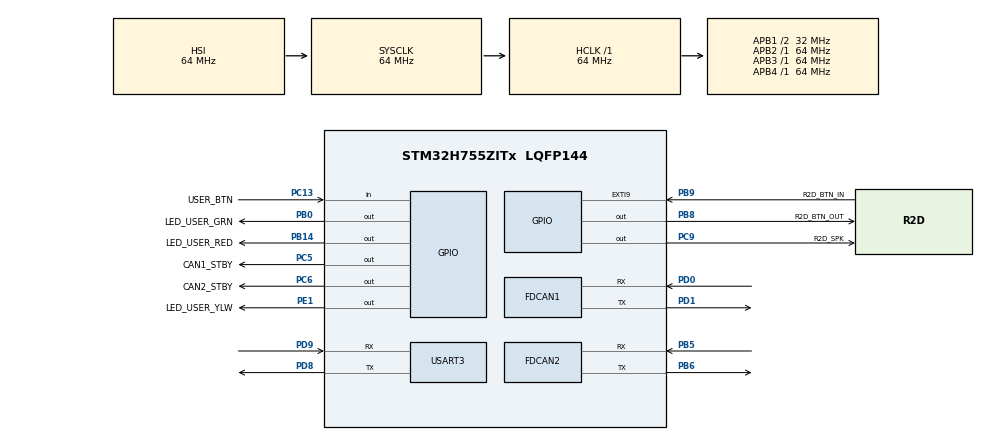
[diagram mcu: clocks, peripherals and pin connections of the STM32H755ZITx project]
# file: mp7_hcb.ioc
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CORTEX_M7.default_mode_Activation=1
CortexM4.IPs=CORTEX_M4\:I,FATFS_M4\:I,FREERTOS_M4\:I,IWDG2\:I,OPENAMP_M4\:I,PDM2PCM_M4\:I,PWR,RCC,RESMGR_UTILITY,SYS_M4\:I,USB_DEVICE_M4\:I,USB_HOST_M4\:I,VREFBUF,WWDG2\:I,GPIO,DMA,BDMA,MDMA,NVIC2\:I
CortexM7.IPs=CORTEX_M7\:I,FATFS_M7\:I,FREERTOS_M7\:I,IWDG1\:I,OPENAMP_M7\:I,PDM2PCM_M7\:I,PWR\:I,RCC\:I,RESMGR_UTILITY\:I,SYS\:I,USB_DEVICE_M7\:I,USB_HOST_M7\:I,VREFBUF\:I,WWDG1\:I,GPIO\:I,DMA\:I,BDMA\:I,MDMA\:I,NVIC1\:I,FDCAN1\:I,FDCAN2\:I,USART3\:I,TIM2\:I
CortexM7.Pins=PC13,PC5,PB0,PB14,PC6,PC9,PB8,PB9,PE1
FDCAN1.AutoRetransmission=ENABLE
FDCAN1.CalculateBaudRateNominal=1000000
FDCAN1.CalculateTimeBitNominal=1000
FDCAN1.CalculateTimeQuantumNominal=25.0
FDCAN1.Mode=FDCAN_MODE_NORMAL
FDCAN1.NominalPrescaler=1
FDCAN1.NominalSyncJumpWidth=6
FDCAN1.NominalTimeSeg1=33
FDCAN1.NominalTimeSeg2=6
FDCAN1.RxFifo0ElmtsNbr=3
FDCAN1.StdFiltersNbr=1
FDCAN1.TxFifoQueueElmtsNbr=3
FDCAN2.AutoRetransmission=ENABLE
FDCAN2.CalculateBaudRateNominal=1000000
FDCAN2.CalculateTimeBitNominal=1000
FDCAN2.CalculateTimeQuantumNominal=25.0
FDCAN2.MessageRAMOffset=1280
FDCAN2.NominalPrescaler=1
FDCAN2.NominalSyncJumpWidth=6
FDCAN2.NominalTimeSeg1=33
FDCAN2.NominalTimeSeg2=6
FDCAN2.RxFifo0ElmtsNbr=3
FDCAN2.StdFiltersNbr=1
FDCAN2.TxFifoQueueElmtsNbr=3
Mcu.Family=STM32H7
Mcu.Name=STM32H755ZITx
Mcu.Package=LQFP144
NVIC1.PriorityGroup=NVIC_PRIORITYGROUP_4
NVIC1.TIM2_IRQn=true\:0\:0\:false\:false\:true\:true\:true\:true
NVIC2.PriorityGroup=NVIC_PRIORITYGROUP_4
PD0.GPIO_Speed=GPIO_SPEED_FREQ_VERY_HIGH
PD0.Mode=FDCAN_Activate
PD0.PinAttribute=CortexM7
PD0.Signal=FDCAN1_RX
PD1.GPIO_Speed=GPIO_SPEED_FREQ_VERY_HIGH
PD1.Mode=FDCAN_Activate
PD1.PinAttribute=CortexM7
PD1.Signal=FDCAN1_TX
PA5.GPIO_Label=SD_SPI_SCK
PA5.PinAttribute=CortexM7
PA5.Signal=SPI1_SCK
PA6.GPIO_Label=SD_SPI_MISO
PA6.PinAttribute=CortexM7
PA6.Signal=SPI1_MISO
PA7.GPIO_Label=SD_SPI_MOSI
PA7.PinAttribute=CortexM7
PA7.Signal=SPI1_MOSI
PB0.GPIO_Label=LED_USER_GRN
PB0.PinAttribute=CortexM7
PB0.Signal=GPIO_Output
PB14.GPIO_Label=LED_USER_RED
PB14.PinAttribute=CortexM7
PB14.Signal=GPIO_Output
PB5.Mode=FDCAN_Activate
PB5.PinAttribute=CortexM7
PB5.Signal=FDCAN2_RX
PB6.Mode=FDCAN_Activate
PB6.PinAttribute=CortexM7
PB6.Signal=FDCAN2_TX
PB8.GPIO_Label=R2D_BTN_OUT
PB8.PinAttribute=CortexM7
PB8.Signal=GPIO_Output
PB9.GPIO_Label=R2D_BTN_IN
PB9.GPIO_ModeDefaultEXTI=GPIO_MODE_IT_RISING
PB9.GPIO_PuPd=GPIO_PULLDOWN
PB9.PinAttribute=CortexM7
PB9.Signal=GPXTI9
PC13.GPIO_Label=USER_BTN
PC13.PinAttribute=CortexM7
PC13.Signal=GPIO_Input
PC5.GPIO_Label=CAN1_STBY
PC5.PinAttribute=CortexM7
PC5.Signal=GPIO_Output
PC6.GPIO_Label=CAN2_STBY
PC6.PinAttribute=CortexM7
PC6.Signal=GPIO_Output
PC9.GPIO_Label=R2D_SPK
PC9.PinAttribute=CortexM7
PC9.Signal=GPIO_Output
PD8.Mode=Asynchronous
PD8.PinAttribute=CortexM7
PD8.Signal=USART3_TX
PD9.Mode=Asynchronous
PD9.PinAttribute=CortexM7
PD9.Signal=USART3_RX
PE1.GPIO_Label=LED_USER_YLW
PE1.PinAttribute=CortexM7
PE1.Signal=GPIO_Output
PH0-OSC_IN\ (PH0).Mode=HSE-External-Clock-Source
PH0-OSC_IN\ (PH0).PinAttribute=Free
PH0-OSC_IN\ (PH0).Signal=RCC_OSC_IN
ProjectManager.HeapSize=M4-0x200,M7-0x200
ProjectManager.StackSize=M4-0x400,M7-0x400
ProjectManager.TargetToolchain=CMake
RCC.ADCFreq_Value=16125000
RCC.APB1Freq_Value=32000000
RCC.APB2Freq_Value=64000000
RCC.APB3Freq_Value=64000000
RCC.APB4Freq_Value=64000000
RCC.CortexFreq_Value=64000000
RCC.D2PPRE1=RCC_APB1_DIV2
RCC.DIVM1=1
RCC.DIVN1=20
RCC.DIVQ1=4
RCC.HCLKFreq_Value=64000000
RCC.HSE_VALUE=8000000
RCC.PLL2FRACN=0
RCC.PLLFRACN=0
RCC.PLLSourceVirtual=RCC_PLLSOURCE_HSE
RCC.SYSCLKFreq_VALUE=64000000
RCC.USBFreq_Value=40000000
SYS.userName=SYS_M7
TIM2.Period=99
TIM2.Prescaler=6399
USART3.VirtualMode-Asynchronous=VM_ASYNC
VP_SYS_M4_VS_Systick.Mode=SysTick
VP_TIM2_VS_ClockSourceINT.Mode=Internal
board=custom

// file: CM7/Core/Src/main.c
/* USER CODE BEGIN Header */
/**
  ******************************************************************************
  * @file           : main.c
  * @brief          : Main program body
  ******************************************************************************
  * @attention
  *
  * Copyright (c) 2026 STMicroelectronics.
  * All rights reserved.
  *
  * This software is licensed under terms that can be found in the LICENSE file
  * in the root directory of this software component.
  * If no LICENSE file comes with this software, it is provided AS-IS.
  *
  ******************************************************************************
  */
/* USER CODE END Header */
#include "main.h"
#include "fdcan.h"
#include "tim.h"
#include "usart.h"
#include "gpio.h"

/* USER CODE BEGIN Includes */
#include <stdio.h>
#include <string.h>
#include <stdbool.h>
#include "mp7_fdcan.h"
#include "mp7_hcb.h"
/* USER CODE END Includes */

/* USER CODE BEGIN PD */

/* DUAL_CORE_BOOT_SYNC_SEQUENCE: Define for dual core boot synchronization    */
/*                             demonstration code based on hardware semaphore */
/* This define is present in both CM7/CM4 projects                            */
/* To comment when developping/debugging on a single core                     */
//#define DUAL_CORE_BOOT_SYNC_SEQUENCE

#if defined(DUAL_CORE_BOOT_SYNC_SEQUENCE)
#ifndef HSEM_ID_0
#define HSEM_ID_0 (0U) /* HW semaphore 0*/
#endif
#endif /* DUAL_CORE_BOOT_SYNC_SEQUENCE */

/* USER CODE END PD */

/* USER CODE BEGIN PV */

//R2D flag
static bool readyToDrive = false;
//Slow watchdog timer tick flag
volatile uint32_t slow_tx_tick = 0U;
/* USER CODE END PV */

void SystemClock_Config(void);
static void MPU_Config(void);

int main(void)
{

/* USER CODE BEGIN Boot_Mode_Sequence_0 */
#if defined(DUAL_CORE_BOOT_SYNC_SEQUENCE)
  int32_t timeout;
#endif /* DUAL_CORE_BOOT_SYNC_SEQUENCE */
/* USER CODE END Boot_Mode_Sequence_0 */

  /* MPU Configuration--------------------------------------------------------*/
  MPU_Config();

/* USER CODE BEGIN Boot_Mode_Sequence_1 */
#if defined(DUAL_CORE_BOOT_SYNC_SEQUENCE)
  /* Wait until CPU2 boots and enters in stop mode or timeout*/
  timeout = 0xFFFF;
  while((__HAL_RCC_GET_FLAG(RCC_FLAG_D2CKRDY) != RESET) && (timeout-- > 0));
  if ( timeout < 0 )
  {
  Error_Handler();
  }
#endif /* DUAL_CORE_BOOT_SYNC_SEQUENCE */
/* USER CODE END Boot_Mode_Sequence_1 */
  /* MCU Configuration--------------------------------------------------------*/

  /* Reset of all peripherals, Initializes the Flash interface and the Systick. */
  HAL_Init();

  /* Configure the system clock */
  SystemClock_Config();
/* USER CODE BEGIN Boot_Mode_Sequence_2 */
#if defined(DUAL_CORE_BOOT_SYNC_SEQUENCE)
/* When system initialization is finished, Cortex-M7 will release Cortex-M4 by means of
HSEM notification */
/*HW semaphore Clock enable*/
__HAL_RCC_HSEM_CLK_ENABLE();
/*Take HSEM */
HAL_HSEM_FastTake(HSEM_ID_0);
/*Release HSEM in order to notify the CPU2(CM4)*/
HAL_HSEM_Release(HSEM_ID_0,0);
/* wait until CPU2 wakes up from stop mode */
timeout = 0xFFFF;
while((__HAL_RCC_GET_FLAG(RCC_FLAG_D2CKRDY) == RESET) && (timeout-- > 0));
if ( timeout < 0 )
{
Error_Handler();
}
#endif /* DUAL_CORE_BOOT_SYNC_SEQUENCE */
/* USER CODE END Boot_Mode_Sequence_2 */

  /* Initialize all configured peripherals */
  MX_GPIO_Init();
  MX_FDCAN1_Init();
  MX_FDCAN2_Init();
  MX_USART3_UART_Init();
  MX_TIM2_Init();
  /* USER CODE BEGIN 2 */

  HCB_Init();

  // start slow watchdog timer
  if (HAL_TIM_Base_Start_IT(&htim2) != HAL_OK){
    Error_Handler();
  }

  // wait for ready to drive button to be pressed before starting the main loop
  while(!readyToDrive){
  }
  // register the R2D broadcast message for periodic transmission
  HCB_RegisterR2DPeriodicTransmit();

  /* USER CODE END 2 */

  /* Infinite loop */
  /* USER CODE BEGIN WHILE */
  while (1)
  {
    // Check if the slow transmit tick has occurred
    if(slow_tx_tick > 0U){
      uint32_t now_ms = HAL_GetTick();

      //disable interrupts while decrementing the slow_tx_tick to avoid race conditions
      __disable_irq();
      //decrement the slow_tx_tick
      slow_tx_tick--;
      __enable_irq();

      //Process periodic TX
      MP7_FDCAN_ProcessPeriodicMessages(&hfdcan1, now_ms);

      //Process RX watchdogs
      MP7_FDCAN_CheckWatchdogs(now_ms);
    }

    // Process all pending received CAN messages
    MP7_FDCAN_ProcessRxMessages(&hfdcan1,
                                FDCAN_RX_FIFO0,
                            HCB_HandleCANRxMessage,
                                HAL_GetTick());
    /* USER CODE END WHILE */

  }
}

void SystemClock_Config(void)
{
  RCC_OscInitTypeDef RCC_OscInitStruct = {0};
  RCC_ClkInitTypeDef RCC_ClkInitStruct = {0};

  /** Supply configuration update enable
  */
  HAL_PWREx_ConfigSupply(PWR_DIRECT_SMPS_SUPPLY);

  /** Configure the main internal regulator output voltage
  */
  __HAL_PWR_VOLTAGESCALING_CONFIG(PWR_REGULATOR_VOLTAGE_SCALE3);

  while(!__HAL_PWR_GET_FLAG(PWR_FLAG_VOSRDY)) {}

  /** Initializes the RCC Oscillators according to the specified parameters
  * in the RCC_OscInitTypeDef structure.
  */
  RCC_OscInitStruct.OscillatorType = RCC_OSCILLATORTYPE_HSI|RCC_OSCILLATORTYPE_HSE;
  RCC_OscInitStruct.HSEState = RCC_HSE_BYPASS;
  RCC_OscInitStruct.HSIState = RCC_HSI_DIV1;
  RCC_OscInitStruct.HSICalibrationValue = RCC_HSICALIBRATION_DEFAULT;
  RCC_OscInitStruct.PLL.PLLState = RCC_PLL_ON;
  RCC_OscInitStruct.PLL.PLLSource = RCC_PLLSOURCE_HSE;
  RCC_OscInitStruct.PLL.PLLM = 1;
  RCC_OscInitStruct.PLL.PLLN = 20;
  RCC_OscInitStruct.PLL.PLLP = 2;
  RCC_OscInitStruct.PLL.PLLQ = 4;
  RCC_OscInitStruct.PLL.PLLR = 2;
  RCC_OscInitStruct.PLL.PLLRGE = RCC_PLL1VCIRANGE_3;
  RCC_OscInitStruct.PLL.PLLVCOSEL = RCC_PLL1VCOMEDIUM;
  RCC_OscInitStruct.PLL.PLLFRACN = 0;
  if (HAL_RCC_OscConfig(&RCC_OscInitStruct) != HAL_OK)
  {
    Error_Handler();
  }

  /** Initializes the CPU, AHB and APB buses clocks
  */
  RCC_ClkInitStruct.ClockType = RCC_CLOCKTYPE_HCLK|RCC_CLOCKTYPE_SYSCLK
                              |RCC_CLOCKTYPE_PCLK1|RCC_CLOCKTYPE_PCLK2
                              |RCC_CLOCKTYPE_D3PCLK1|RCC_CLOCKTYPE_D1PCLK1;
  RCC_ClkInitStruct.SYSCLKSource = RCC_SYSCLKSOURCE_HSI;
  RCC_ClkInitStruct.SYSCLKDivider = RCC_SYSCLK_DIV1;
  RCC_ClkInitStruct.AHBCLKDivider = RCC_HCLK_DIV1;
  RCC_ClkInitStruct.APB3CLKDivider = RCC_APB3_DIV1;
  RCC_ClkInitStruct.APB1CLKDivider = RCC_APB1_DIV2;
  RCC_ClkInitStruct.APB2CLKDivider = RCC_APB2_DIV1;
  RCC_ClkInitStruct.APB4CLKDivider = RCC_APB4_DIV1;

  if (HAL_RCC_ClockConfig(&RCC_ClkInitStruct, FLASH_LATENCY_1) != HAL_OK)
  {
    Error_Handler();
  }
}

/* USER CODE BEGIN 4 */

//tim2 watchdog callback
void HAL_TIM_PeriodElapsedCallback(TIM_HandleTypeDef *htim){
  if (htim->Instance == TIM2) {
    slow_tx_tick++;
  }
}

//EXTI callback for the r2d button
void HAL_GPIO_EXTI_Callback(uint16_t GPIO_Pin){
  if(GPIO_Pin == R2D_BTN_IN_Pin){
    readyToDrive = true;
  }
}
/* USER CODE END 4 */

 /* MPU Configuration */

void MPU_Config(void)
{
  MPU_Region_InitTypeDef MPU_InitStruct = {0};

  /* Disables the MPU */
  HAL_MPU_Disable();

  /** Initializes and configures the Region and the memory to be protected
  */
  MPU_InitStruct.Enable = MPU_REGION_ENABLE;
  MPU_InitStruct.Number = MPU_REGION_NUMBER0;
  MPU_InitStruct.BaseAddress = 0x0;
  MPU_InitStruct.Size = MPU_REGION_SIZE_4GB;
  MPU_InitStruct.SubRegionDisable = 0x87;
  MPU_InitStruct.TypeExtField = MPU_TEX_LEVEL0;
  MPU_InitStruct.AccessPermission = MPU_REGION_NO_ACCESS;
  MPU_InitStruct.DisableExec = MPU_INSTRUCTION_ACCESS_DISABLE;
  MPU_InitStruct.IsShareable = MPU_ACCESS_SHAREABLE;
  MPU_InitStruct.IsCacheable = MPU_ACCESS_NOT_CACHEABLE;
  MPU_InitStruct.IsBufferable = MPU_ACCESS_NOT_BUFFERABLE;

  HAL_MPU_ConfigRegion(&MPU_InitStruct);
  /* Enables the MPU */
  HAL_MPU_Enable(MPU_PRIVILEGED_DEFAULT);

}

void Error_Handler(void)
{
  __disable_irq();
  while (1)
  {
  }
}
